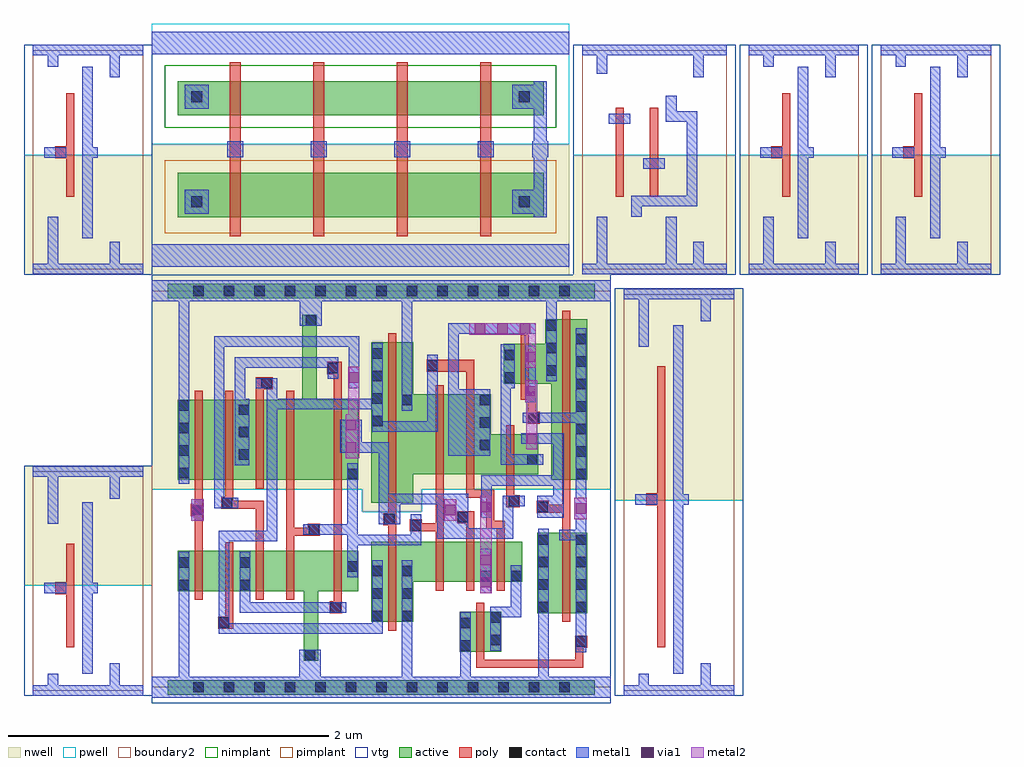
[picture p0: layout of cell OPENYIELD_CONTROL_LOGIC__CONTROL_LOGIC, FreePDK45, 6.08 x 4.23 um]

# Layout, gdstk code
import gdstk
lib = gdstk.Library(unit=1e-6, precision=5e-10)
def R(c, l, rs):  # rectangles x0, y0, x1, y1
    for r in rs: c.add(gdstk.rectangle(r[:2], r[2:], *l))
def A(c, l, x, y, w, h, nx, ny, dx, dy):  # array of equal rectangles
    R(c, l, [(x+i*dx, y+j*dy, x+i*dx+w, y+j*dy+h) for i in range(nx) for j in range(ny)])
def P(c, l, *ps):  # polygons
    for p in ps: c.add(gdstk.Polygon(p, *l))
active = (1, 0)
pwell = (2, 0)
nwell = (3, 0)
nimplant = (4, 0)
pimplant = (5, 0)
vtg = (6, 0)
poly = (9, 0)
contact = (10, 0)
metal1 = (11, 0)
via1 = (12, 0)
metal2 = (13, 0)
boundary2 = (239, 0)

openyield_control_logic_ = lib.new_cell('OPENYIELD_CONTROL_LOGIC__gen_inv')
R(openyield_control_logic_, pwell, [(-0.055,-0.033,0.743,0.655)])
R(openyield_control_logic_, nwell, [(-0.055,0.655,0.743,1.4)])
R(openyield_control_logic_, vtg, [(-0.055,-0.033,0.743,0.655), (-0.055,0.655,0.743,1.4)])
R(openyield_control_logic_, poly, [(0.208,0.27,0.258,0.915), (0.14,0.6,0.208,0.675)])
R(openyield_control_logic_, metal1, [(0,-0.033,0.687,0.033), (0.092,-0.033,0.157,0.103), (0.478,0,0.542,0.17), (0.307,0.103,0.372,1.173), (0.072,0.605,0.208,0.67), (0.34,0.605,0.405,0.67), (0.092,1.038,0.157,1.397), (0.478,1.195,0.542,1.365), (0,1.332,0.687,1.397)])
R(openyield_control_logic_, boundary2, [(0,0,0.687,1.365), (0,0,0.687,1.365)])
openyield_control_logic_.add(gdstk.Label('A', (0.14,0.638), layer=11, texttype=0))
openyield_control_logic_.add(gdstk.Label('Z', (0.372,0.638), layer=11, texttype=0))
openyield_control_logic_.add(gdstk.Label('gnd', (0.345,0), layer=11, texttype=0))
openyield_control_logic_.add(gdstk.Label('vdd', (0.345,1.365), layer=11, texttype=0))

c_openyield_control_logic_ = lib.new_cell('OPENYIELD_CONTROL_LOGIC__dff')
A(c_openyield_control_logic_, active, 0.267, 0.6, 0.05, 0.25, 4, 1, 0.19, 0)
A(c_openyield_control_logic_, active, 0.317, 0.6, 0.14, 0.25, 3, 1, 0.19, 0)
A(c_openyield_control_logic_, active, 1.767, 0.657, 0.05, 0.25, 3, 1, 0.19, 0)
A(c_openyield_control_logic_, active, 0.267, 1.292, 0.05, 0.5, 4, 1, 0.19, 0)
A(c_openyield_control_logic_, active, 0.317, 1.292, 0.14, 0.5, 3, 1, 0.19, 0)
R(c_openyield_control_logic_, active, [(0.1,-0.045,2.76,0.045), (1.917,0.222,2.022,0.472), (2.022,0.222,2.072,0.472), (2.072,0.222,2.177,0.472), (1.367,0.407,1.472,0.907), (1.472,0.407,1.522,0.907), (2.402,0.462,2.557,0.962), (2.557,0.462,2.607,0.962), (2.607,0.462,2.712,0.962), (0.162,0.6,0.267,0.85), (1.132,0.6,1.182,0.85), (1.182,0.6,1.287,0.85), (1.817,0.657,1.957,0.907), (2.007,0.657,2.147,0.907), (2.197,0.657,2.307,0.907), (1.367,1.15,1.472,2.15), (1.472,1.15,1.522,2.15), (0.162,1.292,0.267,1.792), (1.132,1.292,1.182,1.792), (1.182,1.292,1.287,1.792), (2.557,1.292,2.607,2.292), (2.607,1.292,2.712,2.292), (1.767,1.327,1.817,1.827), (1.817,1.327,1.957,1.827), (1.957,1.327,2.007,1.827), (2.207,1.327,2.257,1.577), (2.257,1.327,2.407,1.577), (2.192,1.892,2.297,2.142), (2.297,1.892,2.347,2.142), (0.1,2.425,2.76,2.515)])
P(c_openyield_control_logic_, active, [(0.887,1.292),(0.887,1.792),(0.937,1.792),(0.937,2.322),(1.027,2.322),(1.027,1.792),(1.132,1.792),(1.132,1.292)],
  [(1.522,1.15),(1.522,2.15),(1.627,2.15),(1.627,1.827),(1.767,1.827),(1.767,1.327),(1.627,1.327),(1.627,1.15)],
  [(2.007,1.327),(2.007,1.827),(2.112,1.827),(2.112,1.577),(2.207,1.577),(2.207,1.327)],
  [(2.487,1.292),(2.487,1.892),(2.347,1.892),(2.347,2.142),(2.452,2.142),(2.452,2.292),(2.557,2.292),(2.557,1.292)],
  [(0.947,0.165),(0.947,0.6),(0.887,0.6),(0.887,0.85),(1.132,0.85),(1.132,0.6),(1.037,0.6),(1.037,0.165)],
  [(1.522,0.407),(1.522,0.907),(1.767,0.907),(1.767,0.657),(1.627,0.657),(1.627,0.407)])
P(c_openyield_control_logic_, pwell, [(0,-0.1),(0,1.235),(1.312,1.235),(1.312,1.095),(1.682,1.095),(1.682,1.235),(2.86,1.235),(2.86,-0.1)])
P(c_openyield_control_logic_, nwell, [(1.312,1.095),(1.312,1.235),(0,1.235),(0,2.57),(2.86,2.57),(2.86,1.235),(1.682,1.235),(1.682,1.095)])
A(c_openyield_control_logic_, nimplant, 0.267, 0.6, 0.05, 0.25, 4, 1, 0.19, 0)
A(c_openyield_control_logic_, nimplant, 0.317, 0.6, 0.14, 0.25, 3, 1, 0.19, 0)
A(c_openyield_control_logic_, nimplant, 1.767, 0.657, 0.05, 0.25, 3, 1, 0.19, 0)
R(c_openyield_control_logic_, nimplant, [(1.917,0.222,2.022,0.472), (2.022,0.222,2.072,0.472), (2.072,0.222,2.177,0.472), (1.367,0.407,1.472,0.907), (1.472,0.407,1.522,0.907), (2.402,0.462,2.557,0.962), (2.557,0.462,2.607,0.962), (2.607,0.462,2.712,0.962), (0.162,0.6,0.267,0.85), (1.132,0.6,1.182,0.85), (1.182,0.6,1.287,0.85), (1.817,0.657,1.957,0.907), (2.007,0.657,2.147,0.907), (2.197,0.657,2.307,0.907), (0.1,2.425,2.76,2.515)])
P(c_openyield_control_logic_, nimplant, [(0.947,0.165),(0.947,0.6),(0.887,0.6),(0.887,0.85),(1.132,0.85),(1.132,0.6),(1.037,0.6),(1.037,0.165)],
  [(1.522,0.407),(1.522,0.907),(1.767,0.907),(1.767,0.657),(1.627,0.657),(1.627,0.407)])
A(c_openyield_control_logic_, pimplant, 0.267, 1.292, 0.05, 0.5, 4, 1, 0.19, 0)
A(c_openyield_control_logic_, pimplant, 0.317, 1.292, 0.14, 0.5, 3, 1, 0.19, 0)
R(c_openyield_control_logic_, pimplant, [(0.1,-0.045,2.76,0.045), (1.367,1.15,1.472,2.15), (1.472,1.15,1.522,2.15), (0.162,1.292,0.267,1.792), (1.132,1.292,1.182,1.792), (1.182,1.292,1.287,1.792), (2.557,1.292,2.607,2.292), (2.607,1.292,2.712,2.292), (1.767,1.327,1.817,1.827), (1.817,1.327,1.957,1.827), (1.957,1.327,2.007,1.827), (2.207,1.327,2.257,1.577), (2.257,1.327,2.407,1.577), (2.192,1.892,2.297,2.142), (2.297,1.892,2.347,2.142)])
P(c_openyield_control_logic_, pimplant, [(0.887,1.292),(0.887,1.792),(0.937,1.792),(0.937,2.322),(1.027,2.322),(1.027,1.792),(1.132,1.792),(1.132,1.292)],
  [(1.522,1.15),(1.522,2.15),(1.627,2.15),(1.627,1.827),(1.767,1.827),(1.767,1.327),(1.627,1.327),(1.627,1.15)],
  [(2.007,1.327),(2.007,1.827),(2.112,1.827),(2.112,1.577),(2.207,1.577),(2.207,1.327)],
  [(2.487,1.292),(2.487,1.892),(2.347,1.892),(2.347,2.142),(2.452,2.142),(2.452,2.292),(2.557,2.292),(2.557,1.292)])
R(c_openyield_control_logic_, vtg, [(0,-0.1,2.86,2.57)])
A(c_openyield_control_logic_, poly, 0.267, 0.6, 0.05, 0.25, 4, 1, 0.19, 0)
A(c_openyield_control_logic_, poly, 1.767, 0.602, 0.05, 0.055, 3, 1, 0.19, 0)
A(c_openyield_control_logic_, poly, 1.767, 0.657, 0.05, 0.25, 3, 1, 0.19, 0)
A(c_openyield_control_logic_, poly, 0.267, 1.292, 0.05, 0.5, 4, 1, 0.19, 0)
R(c_openyield_control_logic_, poly, [(2.022,0.222,2.072,0.472), (1.472,0.352,1.522,0.407), (1.472,0.407,1.522,0.907), (2.557,0.407,2.607,0.462), (2.557,0.462,2.607,0.962), (2.022,0.472,2.072,0.527), (0.267,0.545,0.317,0.6), (0.647,0.545,0.697,0.6), (0.837,0.545,0.887,0.6), (1.132,0.6,1.182,0.85), (0.457,0.85,0.507,0.905), (1.132,0.85,1.182,1.292), (1.472,1.15,1.522,2.15), (0.647,1.237,0.697,1.292), (1.132,1.292,1.182,1.792), (2.557,1.292,2.607,2.292), (1.767,1.327,1.817,1.827), (1.957,1.327,2.007,1.827), (2.207,1.327,2.257,1.577), (2.207,1.577,2.257,1.632), (0.267,1.792,0.317,1.847), (0.457,1.792,0.507,1.847), (0.837,1.792,0.887,1.847), (1.767,1.827,1.817,1.882), (2.297,1.892,2.347,2.142), (2.297,2.142,2.347,2.197), (1.472,2.15,1.522,2.205), (2.557,2.292,2.607,2.347)])
P(c_openyield_control_logic_, poly, [(0.267,0.85),(0.267,1.067),(0.242,1.067),(0.242,1.142),(0.267,1.142),(0.267,1.292),(0.317,1.292),(0.317,0.85)],
  [(0.412,0.365),(0.412,0.44),(0.457,0.44),(0.457,0.6),(0.507,0.6),(0.507,0.365)],
  [(0.647,1.792),(0.647,1.932),(0.752,1.932),(0.752,1.857),(0.697,1.857),(0.697,1.792)],
  [(0.647,0.85),(0.647,1.112),(0.432,1.112),(0.432,1.187),(0.457,1.187),(0.457,1.292),(0.507,1.292),(0.507,1.162),(0.697,1.162),(0.697,0.85)],
  [(0.837,0.85),(0.837,1.292),(0.887,1.292),(0.887,0.995),(0.972,0.995),(0.972,1.02),(1.047,1.02),(1.047,0.945),(0.887,0.945),(0.887,0.85)],
  [(1.132,1.792),(1.132,1.952),(1.092,1.952),(1.092,2.027),(1.182,2.027),(1.182,1.792)],
  [(1.107,0.46),(1.107,0.535),(1.132,0.535),(1.132,0.6),(1.182,0.6),(1.182,0.46)],
  [(1.472,0.907),(1.472,1.01),(1.442,1.01),(1.442,1.085),(1.472,1.085),(1.472,1.15),(1.522,1.15),(1.522,0.907)],
  [(1.767,0.907),(1.767,0.972),(1.607,0.972),(1.607,1.047),(1.682,1.047),(1.682,1.022),(1.767,1.022),(1.767,1.327),(1.817,1.327),(1.817,0.907)],
  [(1.957,1.827),(1.957,1.967),(1.712,1.967),(1.712,2.042),(2.007,2.042),(2.007,1.827)],
  [(1.957,0.907),(1.957,1.022),(1.902,1.022),(1.902,1.097),(2.007,1.097),(2.007,0.907)],
  [(2.342,1.642),(2.342,1.792),(2.297,1.792),(2.297,1.892),(2.347,1.892),(2.347,1.842),(2.392,1.842),(2.392,1.717),(2.417,1.717),(2.417,1.642)],
  [(2.207,1.122),(2.207,1.327),(2.257,1.327),(2.257,1.197),(2.292,1.197),(2.292,1.122)],
  [(2.022,0.122),(2.022,0.222),(2.072,0.222),(2.072,0.172),(2.637,0.172),(2.637,0.322),(2.712,0.322),(2.712,0.247),(2.687,0.247),(2.687,0.122)],
  [(2.147,0.907),(2.147,0.987),(2.082,0.987),(2.082,1.182),(1.957,1.182),(1.957,1.327),(2.007,1.327),(2.007,1.232),(2.132,1.232),(2.132,1.037),(2.197,1.037),(2.197,0.907)],
  [(2.557,0.962),(2.557,1.087),(2.397,1.087),(2.397,1.162),(2.472,1.162),(2.472,1.137),(2.557,1.137),(2.557,1.292),(2.607,1.292),(2.607,0.962)])
A(c_openyield_control_logic_, contact, 0.257, -0.032, 0.065, 0.064, 13, 1, 0.19, 0)
A(c_openyield_control_logic_, contact, 1.372, 0.412, 0.065, 0.065, 1, 3, 0, 0.14)
A(c_openyield_control_logic_, contact, 1.557, 0.412, 0.065, 0.065, 1, 3, 0, 0.14)
A(c_openyield_control_logic_, contact, 2.407, 0.467, 0.065, 0.065, 1, 4, 0, 0.14)
A(c_openyield_control_logic_, contact, 2.642, 0.467, 0.065, 0.065, 1, 4, 0, 0.14)
A(c_openyield_control_logic_, contact, 2.642, 1.297, 0.065, 0.065, 1, 7, 0, 0.14)
A(c_openyield_control_logic_, contact, 0.167, 1.302, 0.065, 0.065, 1, 4, 0, 0.14)
A(c_openyield_control_logic_, contact, 0.542, 1.417, 0.065, 0.065, 1, 3, 0, 0.14)
A(c_openyield_control_logic_, contact, 2.042, 1.477, 0.065, 0.065, 1, 3, 0, 0.14)
A(c_openyield_control_logic_, contact, 1.372, 1.627, 0.065, 0.065, 1, 4, 0, 0.14)
A(c_openyield_control_logic_, contact, 2.457, 1.942, 0.065, 0.065, 1, 3, 0, 0.14)
A(c_openyield_control_logic_, contact, 0.257, 2.437, 0.065, 0.065, 13, 1, 0.19, 0)
R(c_openyield_control_logic_, contact, [(0.952,0.17,1.017,0.235), (1.922,0.227,1.987,0.292), (2.642,0.252,2.707,0.317), (2.107,0.262,2.172,0.327), (1.922,0.367,1.987,0.432), (0.417,0.37,0.482,0.435), (2.107,0.402,2.172,0.467), (1.112,0.465,1.177,0.53), (0.167,0.605,0.232,0.67), (0.547,0.605,0.612,0.67), (2.047,0.662,2.112,0.727), (2.237,0.662,2.302,0.727), (1.217,0.72,1.282,0.785), (0.167,0.745,0.232,0.81), (0.547,0.745,0.612,0.81), (0.977,0.95,1.042,1.015), (1.612,0.977,1.677,1.042), (1.447,1.015,1.512,1.08), (1.907,1.027,1.972,1.092), (0.247,1.072,0.312,1.137), (2.402,1.092,2.467,1.157), (0.437,1.117,0.502,1.182), (2.222,1.127,2.287,1.192), (1.217,1.297,1.282,1.362), (2.337,1.387,2.402,1.452), (2.347,1.647,2.412,1.712), (1.557,1.757,1.622,1.822), (0.682,1.862,0.747,1.927), (2.197,1.897,2.262,1.962), (1.097,1.957,1.162,2.022), (1.717,1.972,1.782,2.037), (2.197,2.037,2.262,2.102), (0.957,2.252,1.022,2.317)])
R(c_openyield_control_logic_, metal1, [(0,-0.065,2.86,0.065), (2.047,0.587,2.112,0.862), (2.642,0.915,2.707,1.127), (1.777,0.927,1.972,1.207), (0.245,1.037,0.322,1.172), (2.632,1.047,2.71,1.182), (2.327,1.777,2.392,2.127), (0,2.405,2.76,2.535)])
P(c_openyield_control_logic_, metal1, [(0.167,1.267),(0.167,2.405),(0.1,2.405),(0.1,2.535),(2.86,2.535),(2.86,2.405),(2.522,2.405),(2.522,1.907),(2.457,1.907),(2.457,2.405),(1.622,2.405),(1.622,1.722),(1.557,1.722),(1.557,2.405),(1.057,2.405),(1.057,2.252),(0.922,2.252),(0.922,2.405),(0.232,2.405),(0.232,1.267)],
  [(0.1,-0.065),(0.1,0.065),(0.167,0.065),(0.167,0.845),(0.232,0.845),(0.232,0.065),(0.917,0.065),(0.917,0.235),(1.052,0.235),(1.052,0.065),(1.557,0.065),(1.557,0.792),(1.622,0.792),(1.622,0.065),(1.922,0.065),(1.922,0.467),(1.987,0.467),(1.987,0.065),(2.407,0.065),(2.407,0.987),(2.472,0.987),(2.472,0.065),(2.76,0.065),(2.76,-0.065)],
  [(0.417,0.335),(0.417,0.975),(0.717,0.975),(0.717,1.862),(0.647,1.862),(0.647,1.927),(0.782,1.927),(0.782,1.797),(1.372,1.797),(1.372,2.147),(1.437,2.147),(1.437,1.657),(1.717,1.657),(1.717,2.072),(1.782,2.072),(1.782,1.592),(1.372,1.592),(1.372,1.732),(0.782,1.732),(0.782,0.91),(0.482,0.91),(0.482,0.4),(1.372,0.4),(1.372,0.792),(1.437,0.792),(1.437,0.335)],
  [(1.777,0.927),(1.777,1.142),(1.547,1.142),(1.547,1.015),(1.412,1.015),(1.412,1.462),(1.172,1.462),(1.172,1.667),(1.307,1.667),(1.307,1.527),(1.477,1.527),(1.477,1.207),(1.972,1.207),(1.972,0.992),(2.187,0.992),(2.187,1.192),(2.322,1.192),(2.322,1.127),(2.252,1.127),(2.252,0.927)],
  [(0.387,1.117),(0.387,2.187),(1.292,2.187),(1.292,1.862),(1.227,1.862),(1.227,2.122),(0.452,2.122),(0.452,1.182),(0.537,1.182),(0.537,1.117)],
  [(0.517,1.382),(0.517,2.057),(1.162,2.057),(1.162,1.922),(1.097,1.922),(1.097,1.992),(0.582,1.992),(0.582,1.797),(0.607,1.797),(0.607,1.382)],
  [(0.547,0.465),(0.547,0.845),(0.612,0.845),(0.612,0.53),(1.212,0.53),(1.212,0.465)],
  [(1.217,0.685),(1.217,0.95),(0.942,0.95),(0.942,1.015),(1.217,1.015),(1.217,1.397),(1.282,1.397),(1.282,0.95),(1.612,0.95),(1.612,1.077),(1.677,1.077),(1.677,0.885),(1.282,0.885),(1.282,0.685)],
  [(1.847,1.442),(1.847,2.267),(2.392,2.267),(2.392,2.202),(1.912,2.202),(1.912,1.857),(2.107,1.857),(2.107,1.442)],
  [(2.052,1.057),(2.052,1.322),(2.502,1.322),(2.502,1.517),(2.302,1.517),(2.302,1.582),(2.567,1.582),(2.567,1.057),(2.402,1.057),(2.402,1.192),(2.502,1.192),(2.502,1.257),(2.117,1.257),(2.117,1.057)],
  [(2.172,1.387),(2.172,2.137),(2.262,2.137),(2.262,1.862),(2.237,1.862),(2.237,1.452),(2.437,1.452),(2.437,1.387)],
  [(2.642,0.217),(2.642,0.917),(2.537,0.917),(2.537,0.982),(2.642,0.982),(2.642,1.647),(2.312,1.647),(2.312,1.712),(2.642,1.712),(2.642,2.237),(2.707,2.237),(2.707,0.217)],
  [(2.107,0.227),(2.107,0.502),(2.237,0.502),(2.237,0.762),(2.302,0.762),(2.302,0.437),(2.172,0.437),(2.172,0.227)])
A(c_openyield_control_logic_, via1, 2.012, 2.202, 0.065, 0.065, 3, 1, 0.14, 0)
R(c_openyield_control_logic_, via1, [(2.047,0.622,2.112,0.687), (2.047,0.762,2.112,0.827), (0.247,1.072,0.312,1.137), (1.825,1.072,1.89,1.137), (2.64,1.082,2.705,1.147), (2.052,1.092,2.117,1.157), (1.207,1.462,1.272,1.527), (2.337,1.517,2.402,1.582), (1.207,1.602,1.272,1.667), (2.327,1.812,2.392,1.877), (1.227,1.897,1.292,1.962), (2.327,2.027,2.392,2.092)])
R(c_openyield_control_logic_, metal2, [(2.047,0.587,2.117,1.192), (0.245,1.037,0.322,1.172), (1.82,1.037,1.897,1.172), (2.632,1.047,2.71,1.182)])
P(c_openyield_control_logic_, metal2, [(1.207,1.427),(1.207,1.702),(1.222,1.702),(1.222,1.997),(1.292,1.997),(1.292,1.427)],
  [(2.322,1.992),(2.322,2.197),(1.977,2.197),(1.977,2.267),(2.392,2.267),(2.392,1.992)],
  [(2.332,1.482),(2.332,1.777),(2.327,1.777),(2.327,1.912),(2.402,1.912),(2.402,1.482)])
R(c_openyield_control_logic_, boundary2, [(0,0,2.86,2.47)])
c_openyield_control_logic_.add(gdstk.Label('clk', (1.865,1.15), layer=13, texttype=0))
c_openyield_control_logic_.add(gdstk.Label('D', (0.295,1.15), layer=13, texttype=0))
c_openyield_control_logic_.add(gdstk.Label('Q', (2.685,1.1), layer=13, texttype=0))
c_openyield_control_logic_.add(gdstk.Label('gnd', (1.645,0.042), layer=11, texttype=0))
c_openyield_control_logic_.add(gdstk.Label('vdd', (2.035,2.532), layer=11, texttype=0))

c_openyield_control_logic__ = lib.new_cell('OPENYIELD_CONTROL_LOGIC__gen_delay_inv')
R(c_openyield_control_logic__, pwell, [(-0.055,-0.033,0.743,1.185)])
R(c_openyield_control_logic__, nwell, [(-0.055,1.185,0.743,2.505)])
R(c_openyield_control_logic__, vtg, [(-0.055,-0.033,0.743,1.185), (-0.055,1.185,0.743,2.505)])
R(c_openyield_control_logic__, poly, [(0.208,0.27,0.258,2.02), (0.14,1.153,0.208,1.228)])
R(c_openyield_control_logic__, metal1, [(0,-0.033,0.687,0.033), (0.092,-0.033,0.157,0.103), (0.478,0,0.542,0.17), (0.307,0.103,0.372,2.277), (0.072,1.157,0.208,1.222), (0.34,1.157,0.405,1.222), (0.092,2.143,0.157,2.502), (0.478,2.3,0.542,2.47), (0,2.437,0.687,2.502)])
R(c_openyield_control_logic__, boundary2, [(0,0,0.687,2.47), (0,0,0.687,2.47)])
c_openyield_control_logic__.add(gdstk.Label('A', (0.14,1.19), layer=11, texttype=0))
c_openyield_control_logic__.add(gdstk.Label('Z', (0.372,1.19), layer=11, texttype=0))
c_openyield_control_logic__.add(gdstk.Label('gnd', (0.345,0), layer=11, texttype=0))
c_openyield_control_logic__.add(gdstk.Label('vdd', (0.345,2.47), layer=11, texttype=0))

c_openyield_control_logic___ = lib.new_cell('OPENYIELD_CONTROL_LOGIC__gen_nand4')
R(c_openyield_control_logic___, active, [(0.16,0.36,2.44,0.57), (0.16,0.93,2.44,1.205)])
R(c_openyield_control_logic___, pwell, [(0,0,2.6,0.75)])
R(c_openyield_control_logic___, nwell, [(0,0.75,2.6,1.565)])
R(c_openyield_control_logic___, nimplant, [(0.08,0.26,2.52,0.65)])
R(c_openyield_control_logic___, pimplant, [(0.08,0.85,2.52,1.305)])
A(c_openyield_control_logic___, poly, 0.485, 0.24, 0.07, 1.085, 4, 1, 0.52, 0)
R(c_openyield_control_logic___, contact, [(0.245,0.42,0.315,0.49), (2.285,0.42,2.355,0.49), (0.245,1.075,0.315,1.145), (2.285,1.075,2.355,1.145)])
A(c_openyield_control_logic___, metal1, 0.47, 0.733, 0.1, 0.099, 4, 1, 0.52, 0)
R(c_openyield_control_logic___, metal1, [(0,0.05,2.6,0.19), (1.25,0.07,1.35,0.17), (2.38,0.36,2.46,1.205), (0.205,0.38,0.355,0.53), (2.245,0.38,2.395,0.53), (2.37,0.733,2.47,0.832), (0.205,1.035,0.355,1.185), (2.245,1.035,2.395,1.185), (0,1.375,2.6,1.515), (1.25,1.395,1.35,1.495)])

c_openyield_control_logic____ = lib.new_cell('OPENYIELD_CONTROL_LOGIC__gen_nand2')
R(c_openyield_control_logic____, pwell, [(-0.055,-0.033,0.957,0.655)])
R(c_openyield_control_logic____, nwell, [(-0.055,0.655,0.957,1.4)])
R(c_openyield_control_logic____, vtg, [(-0.055,-0.033,0.957,0.655), (-0.055,0.655,0.957,1.4)])
R(c_openyield_control_logic____, poly, [(0.208,0.36,0.258,0.915), (0.422,0.36,0.473,0.915), (0.208,0.39,0.232,0.465), (0.422,0.67,0.447,0.745)])
R(c_openyield_control_logic____, metal1, [(0,-0.033,0.902,0.033), (0.092,-0.033,0.157,0.147), (0.692,0,0.758,0.17), (0.522,0.283,0.588,0.413), (0.522,0.38,0.588,0.445), (0.555,0.38,0.685,0.445), (0.652,0.38,0.718,0.445), (0.165,0.395,0.3,0.46), (0.652,0.413,0.718,0.94), (0.38,0.675,0.515,0.74), (0.307,0.907,0.372,0.972), (0.34,0.907,0.685,0.972), (0.652,0.907,0.718,0.972), (0.307,0.94,0.372,1.038), (0.092,1.038,0.157,1.397), (0.522,1.038,0.588,1.397), (0.692,1.195,0.758,1.365), (0,1.332,0.902,1.397)])
R(c_openyield_control_logic____, boundary2, [(0,0,0.902,1.365), (0,0,0.902,1.365)])
c_openyield_control_logic____.add(gdstk.Label('Z', (0.685,0.94), layer=11, texttype=0))
c_openyield_control_logic____.add(gdstk.Label('gnd', (0.45,0), layer=11, texttype=0))
c_openyield_control_logic____.add(gdstk.Label('vdd', (0.45,1.365), layer=11, texttype=0))
c_openyield_control_logic____.add(gdstk.Label('A', (0.232,0.427), layer=11, texttype=0))
c_openyield_control_logic____.add(gdstk.Label('B', (0.447,0.707), layer=11, texttype=0))

c_openyield_control_logic_____ = lib.new_cell('OPENYIELD_CONTROL_LOGIC__CONTROL_LOGIC')
c_openyield_control_logic_____.add(gdstk.Reference(openyield_control_logic_, (0.08,0.08)))
c_openyield_control_logic_____.add(gdstk.Reference(c_openyield_control_logic_, (0.822,0.1)))
c_openyield_control_logic_____.add(gdstk.Reference(c_openyield_control_logic__, (3.762,0.08)))
c_openyield_control_logic_____.add(gdstk.Reference(openyield_control_logic_, (0.08,4.07), x_reflection=True))
c_openyield_control_logic_____.add(gdstk.Reference(c_openyield_control_logic___, (0.822,4.235), x_reflection=True))
c_openyield_control_logic_____.add(gdstk.Reference(c_openyield_control_logic____, (3.503,4.07), x_reflection=True))
c_openyield_control_logic_____.add(gdstk.Reference(openyield_control_logic_, (4.54,4.07), x_reflection=True))
c_openyield_control_logic_____.add(gdstk.Reference(openyield_control_logic_, (5.363,4.07), x_reflection=True))

lib.write_gds('OPENYIELD_CONTROL_LOGIC__CONTROL_LOGIC.gds')
